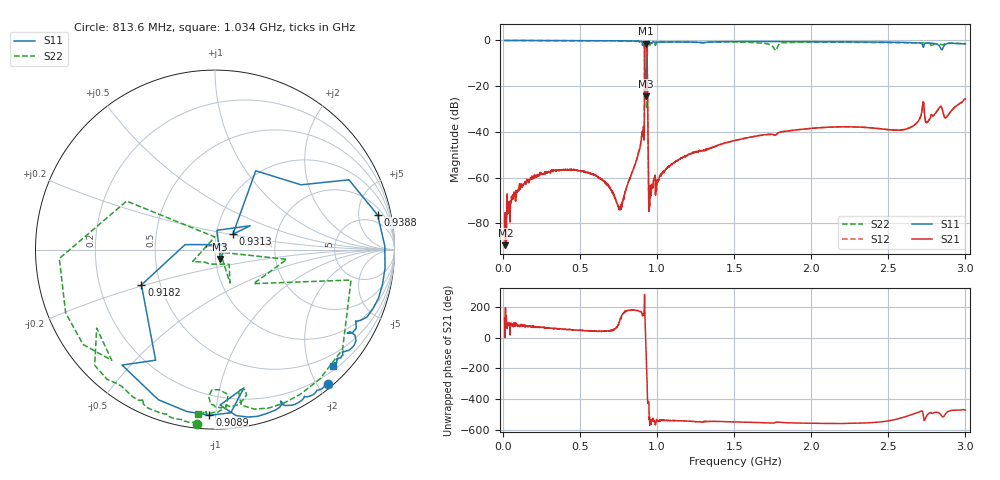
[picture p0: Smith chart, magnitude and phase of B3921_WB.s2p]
! Matrix data file written by TouchstoneData, EPCOS AG
! FILENAME: "B3921_WB.s2p"
! COMMENT: "NWA-Port1 : 98.0ps NWA-Port2 : 98.0ps PCB2031"
! INFO: nport=2, nfreq=1601
! DATE: "Wed Jul  4 2012"
! USER: "Hiroshi Tanaka"
! port | pin | signal
!  1  |  2  |  in
!  2  |  5  |  out
# MHZ S RI R 50
! freq  reS11 imS11  reS21 imS21  reS12 imS12  reS22 imS22
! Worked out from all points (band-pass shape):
!   1601 points, 10 MHz to 3 GHz, reference 50 ohm
!   highest |S21| = -1.37 dB at 925.7 MHz (marker M1); lowest = -89.7 dB at 15.61 MHz (marker M2)
!   |S21| within 3 dB of the highest: 919.7 MHz to 933.2 MHz (13.57 MHz wide, 1.47 % of centre)
!   lowest |S11| = -24.4 dB at 925.7 MHz (marker M3), VSWR 1.13, Z = 52.7 - j5.55 ohm
!   |S11| at or under -10 dB: 918.9 MHz to 932.5 MHz (13.63 MHz wide, 1.47 % of centre)
!   |S22| runs from -29.9 to 0.0 dB; largest |S21 - S12| = 0.003
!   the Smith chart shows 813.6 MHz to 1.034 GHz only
!   S11 on the Smith chart (normalised r, x): 813.6 MHz: 0.06, -2.15; 908.9 MHz: 0.08, -0.96; 918.2 MHz: 0.39, -0.19; 931.3 MHz: 1.20, +0.21; 938.8 MHz: 3.09, +8.40; 1.034 GHz: 0.27, -2.41
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10  0.9995 -0.0109  -7.43e-05 9.05e-05  -6.8e-05 8.66e-05  0.9993 -0.0249
15.60625  0.9993 -0.0164  -3.17e-05 -8.53e-06  -2.89e-05 -1.29e-05  0.9989 -0.0382
191.2688  0.9775 -0.1928  0.000288 0.000893  0.000275 0.000887  0.8939 -0.4377
508.9563  0.8637 -0.4814  0.000972 0.00103  0.000974 0.00102  0.4339 -0.8851
664.0625  0.7732 -0.609  0.00054 0.000518  0.000529 0.000518  0.1766 -0.9646
755.6313  0.6998 -0.6868  -6.71e-05 0.00022  -6.79e-05 0.000221  0.0197 -0.9771
813.5625  0.6301 -0.7485  -0.00081 3.42e-05  -0.000804 4.58e-05  -0.0977 -0.9692
901.3937  0.1165 -0.9245  -0.00872 0.0037  -0.00872 0.00369  -0.518 -0.7634
908.8687  -0.0312 -0.9232  -0.00853 0.00399  -0.00856 0.00399  -0.6591 -0.4377
918.2125  -0.4099 -0.1967  0.0623 -0.3395  0.0602 -0.3408  -0.4925 0.2702
925.6875  0.0293 -0.0525  0.8428 -0.1385  0.8426 -0.1402  -0.0307 -0.0807
931.2938  0.0997 0.0858  -0.7626 -0.2479  -0.7635 -0.2461  0.0286 -0.0144
938.7687  0.9062 0.1924  0.00996 -0.0203  0.00993 -0.0201  0.7108 -0.5557
957.4562  0.7856 -0.4093  -0.000368 0.000151  -0.000342 0.000149  0.1648 -0.8289
1007.913  0.6798 -0.61  -0.000892 -8.16e-06  -0.000889 -1.03e-05  -0.0301 -0.9103
1034.075  0.6572 -0.6493  -0.00126 -8.43e-05  -0.00126 -5.47e-05  -0.0926 -0.9155
1505  0.3919 -0.8577  -0.00642 0.000812  -0.00643 0.000849  -0.5103 -0.7659
1779.706  0.2377 -0.9138  -0.00909 0.00139  -0.00908 0.0014  -0.3227 -0.6193
2003.956  0.1156 -0.9318  -0.0115 0.00335  -0.0115 0.00336  -0.6752 -0.6097
2502.912  -0.1734 -0.8988  -0.0111 -5.89e-05  -0.0111 -4.55e-05  -0.8304 -0.3409
2876.662  -0.2655 -0.8011  -0.0132 -0.0163  -0.0133 -0.0163  -0.8494 -0.1371
3000  -0.4438 -0.7133  -0.0182 -0.0497  -0.0183 -0.0497  -0.8478 0.00522
